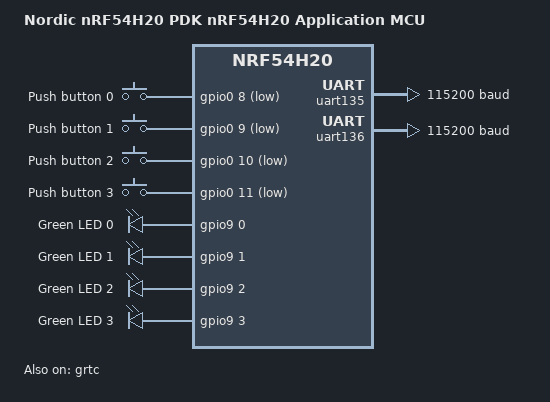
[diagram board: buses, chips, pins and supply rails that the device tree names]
/*
 * Copyright (c) 2024 Nordic Semiconductor ASA
 *
 * SPDX-License-Identifier: Apache-2.0
 */

/dts-v1/;

#include <nordic/nrf54h20_enga_cpuapp.dtsi>
#include "nrf54h20pdk_nrf54h20-memory_map.dtsi"
#include "nrf54h20pdk_nrf54h20-pinctrl.dtsi"

/ {
	compatible = "nordic,nrf54h20pdk_nrf54h20-cpuapp";
	model = "Nordic nRF54H20 PDK nRF54H20 Application MCU";

	chosen {
		zephyr,console = &uart136;
		zephyr,code-partition = &cpuapp_slot0_partition;
		zephyr,flash = &mram1x;
		zephyr,sram = &cpuapp_ram0;
	};

	aliases {
		led0 = &led0;
		led1 = &led1;
		led2 = &led2;
		led3 = &led3;
		sw0 = &button0;
		sw1 = &button1;
		sw2 = &button2;
		sw3 = &button3;
	};

	buttons {
		compatible = "gpio-keys";

		button0: button_0 {
			gpios = <&gpio0 8 (GPIO_PULL_UP | GPIO_ACTIVE_LOW)>;
			label = "Push button 0";
			zephyr,code = <INPUT_KEY_0>;
		};

		button1: button_1 {
			gpios = <&gpio0 9 (GPIO_PULL_UP | GPIO_ACTIVE_LOW)>;
			label = "Push button 1";
			zephyr,code = <INPUT_KEY_1>;
		};

		button2: button_2 {
			gpios = <&gpio0 10 (GPIO_PULL_UP | GPIO_ACTIVE_LOW)>;
			label = "Push button 2";
			zephyr,code = <INPUT_KEY_2>;
		};

		button3: button_3 {
			gpios = <&gpio0 11 (GPIO_PULL_UP | GPIO_ACTIVE_LOW)>;
			label = "Push button 3";
			zephyr,code = <INPUT_KEY_3>;
		};
	};

	leds {
		compatible = "gpio-leds";

		led0: led_0 {
			gpios = <&gpio9 0 GPIO_ACTIVE_HIGH>;
			label = "Green LED 0";
		};

		led1: led_1 {
			gpios = <&gpio9 1 GPIO_ACTIVE_HIGH>;
			label = "Green LED 1";
		};

		led2: led_2 {
			gpios = <&gpio9 2 GPIO_ACTIVE_HIGH>;
			label = "Green LED 2";
		};

		led3: led_3 {
			gpios = <&gpio9 3 GPIO_ACTIVE_HIGH>;
			label = "Green LED 3";
		};
	};
};

&ram3x_dma_region {
	status = "okay";
};

&cpuapp_dma_region {
	status = "okay";
};

&cpuapp_rx_partitions {
	status = "okay";
};

&cpuppr_vpr {
	source-memory = <&cpuppr_code_partition>;
	execution-memory = <&cpuppr_ram3x_region>;
};

&gpiote130 {
	status = "okay";
	owned-channels = <0 1 2 3 4 5 6 7>;
};

&gpio0 {
	status = "okay";
};

&gpio9 {
	status = "okay";
};

&grtc {
	status = "okay";
	child-owned-channels = <5 6>;
	nonsecure-channels = <5 6>;
	owned-channels = <4 5 6>;
};

&uart135 {
	current-speed = <115200>;
	pinctrl-0 = <&uart135_default>;
	pinctrl-1 = <&uart135_sleep>;
	pinctrl-names = "default", "sleep";
};

&uart136 {
	status = "okay";
	memory-regions = <&cpuapp_dma_region>;
	current-speed = <115200>;
	pinctrl-0 = <&uart136_default>;
	pinctrl-1 = <&uart136_sleep>;
	pinctrl-names = "default", "sleep";
};
